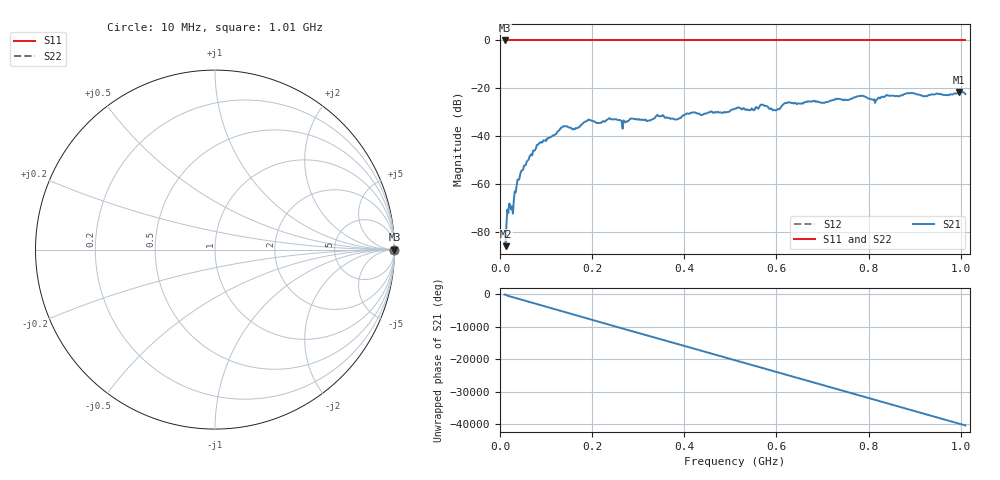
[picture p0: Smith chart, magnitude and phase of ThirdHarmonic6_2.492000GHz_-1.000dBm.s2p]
! 8/17/2025 4:43:28 AM
! C:\ANRITSUVNA\TEMP\TEMP.S2P
! CHANNEL.1
! TR.MEASUREMENT
! RAW.DATA
! RF.CORRECTION.OFF
! AVERAGING.OFF
! IF.BANDWIDTH: 5KHZ
! SWEEPTYPE:  FREQ.SWEEP(Linear)
! Reference Plane Port Info
! PORT:  PORT1  PORT2
! DISTANCE:  0  m  0  m
! TIME:  0  s  0  s
! PHASE.OFFSET:  0  deg.  0  deg.
! LOSS:  0  dB  0  dB
! REF.LOSS:  0  dB  0  dB
! REF.FREQ:  0  Hz  0  Hz
! Power Info
! POWER:  -20  dBm  -20  dBm
! EFF.POWER:  -20  dBm  -20  dBm
! SOURCE.ATTEN:  0  dB  0  dB
! TEST.ATTEN:  0  dB  0  dB
# GHZ S RI R 50.0
! FREQ.GHZ  S11RE  S11IM  S21RE  S21IM  S12RE  S12IM  S22RE  S22IM
!; PortSelection: Port_12
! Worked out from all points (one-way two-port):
!   501 points, 10 MHz to 1.01 GHz, reference 50 ohm
!   highest |S21| = -21.48 dB at 996 MHz (marker M1); lowest = -85.9 dB at 12 MHz (marker M2)
!   lowest |S11| = 0.0 dB at 10 MHz (marker M3)
!   |S11| at or under -10 dB: nowhere
!   |S22| runs from 0.0 to 0.0 dB; largest |S21 - S12| = 1.1
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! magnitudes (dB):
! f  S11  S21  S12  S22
! 10 MHz  0.0  -84.6  0.0  0.0
! 12 MHz  0.0  -85.9  0.0  0.0
! 18 MHz  0.0  -72.1  0.0  0.0
! 28 MHz  0.0  -72.3  0.0  0.0
! 42 MHz  0.0  -57.9  0.0  0.0
! 82 MHz  0.0  -43.6  0.0  0.0
! 136 MHz  0.0  -36.0  0.0  0.0
! 178 MHz  0.0  -35.0  0.0  0.0
! 238 MHz  0.0  -32.4  0.0  0.0
! 322 MHz  0.0  -33.5  0.0  0.0
! 344 MHz  0.0  -31.6  0.0  0.0
! 382 MHz  0.0  -33.0  0.0  0.0
! 418 MHz  0.0  -30.1  0.0  0.0
! 510 MHz  0.0  -28.5  0.0  0.0
! 570 MHz  0.0  -26.8  0.0  0.0
! 596 MHz  0.0  -29.1  0.0  0.0
! 622 MHz  0.0  -26.2  0.0  0.0
! 678 MHz  0.0  -25.5  0.0  0.0
! 814 MHz  0.0  -26.1  0.0  0.0
! 844 MHz  0.0  -23.1  0.0  0.0
! 996 MHz  0.0  -21.5  0.0  0.0
! 1.01 GHz  0.0  -22.4  0.0  0.0
